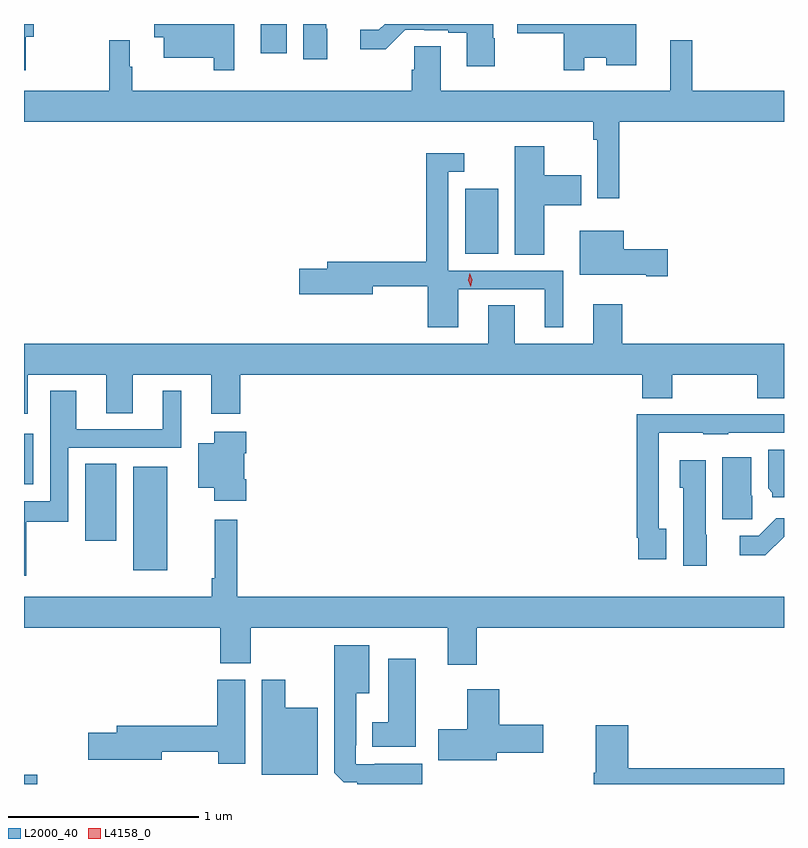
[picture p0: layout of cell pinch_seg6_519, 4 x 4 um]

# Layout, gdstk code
import gdstk
lib = gdstk.Library(unit=1e-6, precision=1e-09)
def R(c, l, rs):  # rectangles x0, y0, x1, y1
    for r in rs: c.add(gdstk.rectangle(r[:2], r[2:], *l))
def P(c, l, *ps):  # polygons
    for p in ps: c.add(gdstk.Polygon(p, *l))
L2000_40 = (2000, 40)
L4158_0 = (4158, 0)

pinch_seg6_519 = lib.new_cell('pinch_seg6_519')
R(pinch_seg6_519, L2000_40, [(819.676,942.518,819.745,942.566), (820.25,943.643,820.429,944.188), (819.998,943.797,820.162,944.204), (819.676,944.096,819.724,944.362), (821.999,945.308,822.172,945.652), (820.922,946.365,821.059,946.518)])
P(pinch_seg6_519, L2000_40, [(822.624,946.34),(822.74,946.34),(822.74,946.301),(822.898,946.301),(822.898,946.518),(822.273,946.518),(822.273,946.47),(822.516,946.47),(822.516,946.275),(822.624,946.275)],
  [(820.782,946.518),(820.361,946.518),(820.361,946.448),(820.412,946.448),(820.412,946.34),(820.674,946.34),(820.674,946.275),(820.782,946.275)],
  [(819.685,946.451),(819.727,946.451),(819.727,946.518),(819.676,946.518),(819.676,946.275),(819.685,946.275)],
  [(821.272,946.494),(821.266,946.494),(821.266,946.518),(821.147,946.518),(821.147,946.332),(821.272,946.332)],
  [(822.153,946.443),(822.145,946.443),(822.145,946.518),(821.574,946.518),(821.544,946.488),(821.445,946.488),(821.445,946.386),(821.58,946.386),(821.682,946.488),(821.782,946.488),(821.782,946.485),(821.909,946.485),(821.909,946.473),(822.005,946.473),(822.005,946.296),(822.153,946.296)],
  [(822.809,946.004),(823.676,946.004),(823.676,946.168),(823.193,946.168),(823.193,946.432),(823.076,946.432),(823.076,946.168),(821.869,946.168),(821.869,946.4),(821.73,946.4),(821.73,946.278),(821.717,946.278),(821.717,946.168),(820.246,946.168),(820.246,946.292),(820.233,946.292),(820.233,946.432),(820.125,946.432),(820.125,946.168),(819.676,946.168),(819.676,946.004),(822.673,946.004),(822.673,945.908),(822.693,945.908),(822.693,945.6),(822.809,945.6)],
  [(822.415,945.563),(822.608,945.563),(822.608,945.721),(822.415,945.721),(822.415,945.874),(822.26,945.874),(822.26,945.304),(822.415,945.304)],
  [(821.962,945.123),(822.416,945.123),(822.416,944.922),(822.514,944.922),(822.514,945.219),(821.91,945.219),(821.91,945.741),(821.992,945.741),(821.992,945.838),(821.794,945.838),(821.794,945.266),(821.273,945.266),(821.273,945.23),(821.124,945.23),(821.124,945.095),(821.512,945.095),(821.512,945.138),(821.801,945.138),(821.801,944.922),(821.962,944.922)],
  [(823.063,945.332),(822.832,945.332),(822.832,945.43),(822.602,945.43),(822.602,945.197),(822.95,945.197),(822.95,945.19),(823.063,945.19)],
  [(819.697,944.672),(820.109,944.672),(820.109,944.47),(820.249,944.47),(820.249,944.672),(820.661,944.672),(820.661,944.466),(820.814,944.466),(820.814,944.672),(822.929,944.672),(822.929,944.548),(823.089,944.548),(823.089,944.672),(823.534,944.672),(823.534,944.548),(823.676,944.548),(823.676,944.836),(822.824,944.836),(822.824,945.043),(822.671,945.043),(822.671,944.836),(822.259,944.836),(822.259,945.038),(822.119,945.038),(822.119,944.836),(819.676,944.836),(819.676,944.466),(819.697,944.466)],
  [(819.688,943.899),(819.909,943.899),(819.909,944.289),(820.504,944.289),(820.504,944.587),(820.406,944.587),(820.406,944.385),(819.952,944.385),(819.952,944.587),(819.813,944.587),(819.813,944.007),(819.676,944.007),(819.676,943.614),(819.688,943.614)],
  [(823.057,943.862),(823.017,943.862),(823.017,944.366),(823.251,944.366),(823.251,944.36),(823.383,944.36),(823.383,944.367),(823.676,944.367),(823.676,944.463),(823.383,944.463),(823.383,944.465),(823.151,944.465),(823.151,944.463),(822.901,944.463),(822.901,943.813),(822.909,943.813),(822.909,943.701),(823.057,943.701)],
  [(820.847,944.122),(820.834,944.122),(820.834,944.258),(820.847,944.258),(820.847,944.371),(820.676,944.371),(820.676,944.311),(820.592,944.311),(820.592,944.078),(820.676,944.078),(820.676,944.01),(820.847,944.01)],
  [(823.676,944.278),(823.592,944.278),(823.592,944.074),(823.614,944.052),(823.614,944.027),(823.676,944.027)],
  [(823.508,944.034),(823.504,944.034),(823.504,944.239),(823.352,944.239),(823.352,943.911),(823.508,943.911)],
  [(823.27,943.83),(823.264,943.83),(823.264,944.221),(823.127,944.221),(823.127,944.076),(823.145,944.076),(823.145,943.668),(823.27,943.668)],
  [(823.676,943.82),(823.676,943.918),(823.636,943.918),(823.542,943.824),(823.443,943.824),(823.443,943.722),(823.578,943.722)],
  [(822.059,943.34),(823.676,943.34),(823.676,943.504),(820.799,943.504),(820.799,943.909),(820.681,943.909),(820.681,943.6),(820.663,943.6),(820.663,943.504),(819.676,943.504),(819.676,943.34),(820.709,943.34),(820.709,943.153),(820.869,943.153),(820.869,943.34),(821.906,943.34),(821.906,943.146),(822.059,943.146)],
  [(821.773,942.625),(821.521,942.625),(821.521,942.621),(821.421,942.621),(821.421,942.721),(821.425,942.721),(821.425,942.995),(821.494,942.995),(821.494,943.249),(821.309,943.249),(821.309,942.577),(821.358,942.528),(821.429,942.528),(821.429,942.518),(821.773,942.518)],
  [(821.737,943.177),(821.594,943.177),(821.594,942.844),(821.51,942.844),(821.51,942.713),(821.737,942.713)],
  [(820.84,943.068),(820.694,943.068),(820.694,942.824),(820.163,942.824),(820.163,942.788),(820.014,942.788),(820.014,942.646),(820.402,942.646),(820.402,942.688),(820.699,942.688),(820.699,942.624),(820.84,942.624)],
  [(821.221,942.919),(821.05,942.919),(821.05,943.066),(820.928,943.066),(820.928,942.566),(821.221,942.566)],
  [(822.163,942.683),(822.409,942.683),(822.409,942.83),(822.176,942.83),(822.176,943.018),(822.008,943.018),(822.008,942.807),(821.856,942.807),(821.856,942.644),(822.163,942.644)],
  [(823.676,942.602),(822.857,942.602),(822.857,942.826),(822.686,942.826),(822.686,942.577),(822.674,942.577),(822.674,942.518),(823.676,942.518)])
P(pinch_seg6_519, L4158_0, [(822.026,945.135),(822.026,945.135),(822.014,945.17),(822.022,945.207),(822.022,945.207),(822.022,945.207),(822.034,945.171),(822.026,945.135)])

lib.write_gds('pinch_seg6_519.gds')
